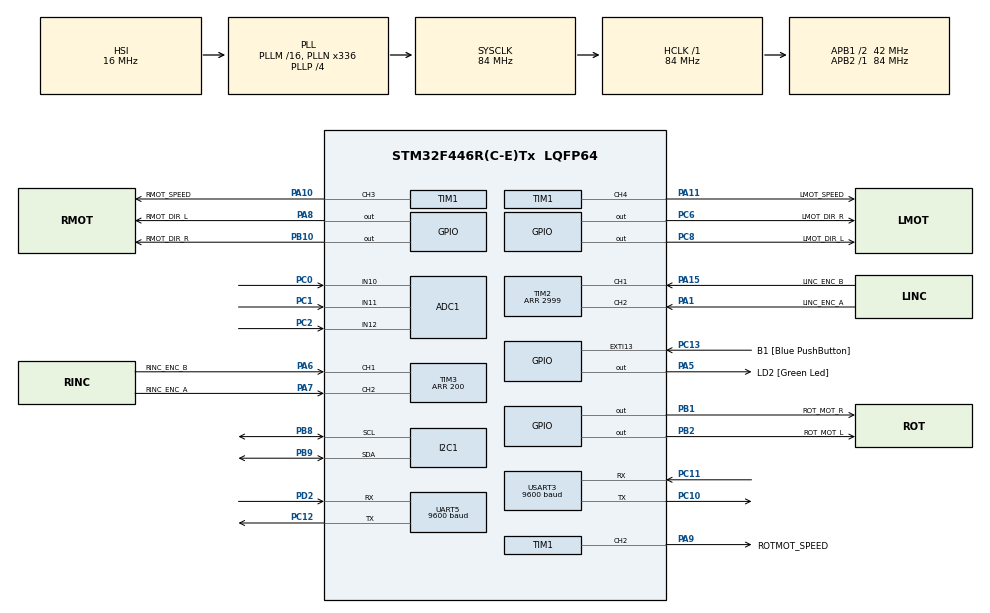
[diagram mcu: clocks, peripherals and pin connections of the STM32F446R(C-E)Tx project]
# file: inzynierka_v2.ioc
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ADC1.Channel-3\#ChannelRegularConversion=ADC_CHANNEL_10
ADC1.ClockPrescaler=ADC_CLOCK_SYNC_PCLK_DIV8
ADC1.EOCSelection=ADC_EOC_SINGLE_CONV
ADC1.NbrOfConversion=1
ADC1.NbrOfConversionFlag=1
ADC1.Rank-3\#ChannelRegularConversion=1
ADC1.SamplingTime-3\#ChannelRegularConversion=ADC_SAMPLETIME_480CYCLES
ADC1.master=1
Mcu.Family=STM32F4
Mcu.Name=STM32F446R(C-E)Tx
Mcu.Package=LQFP64
NVIC.ADC_IRQn=true\:0\:0\:false\:false\:true\:true\:true
NVIC.PriorityGroup=NVIC_PRIORITYGROUP_0
NVIC.UART5_IRQn=true\:0\:0\:false\:false\:true\:true\:true
NVIC.USART3_IRQn=true\:0\:0\:false\:false\:true\:true\:true
PA1.GPIO_Label=LINC_ENC_A
PA1.Signal=S_TIM2_CH2
PA10.GPIO_Label=RMOT_SPEED
PA10.Signal=S_TIM1_CH3
PA11.GPIO_Label=LMOT_SPEED
PA11.Signal=S_TIM1_CH4
PA13.GPIO_Label=TMS
PA13.Signal=SYS_JTMS-SWDIO
PA14.GPIO_Label=TCK
PA14.Signal=SYS_JTCK-SWCLK
PA15.GPIO_Label=LINC_ENC_B
PA15.Signal=S_TIM2_CH1_ETR
PA5.GPIO_Label=LD2 [Green Led]
PA5.Signal=GPIO_Output
PA6.GPIO_Label=RINC_ENC_B
PA6.Signal=S_TIM3_CH1
PA7.GPIO_Label=RINC_ENC_A
PA7.Signal=S_TIM3_CH2
PA8.GPIO_Label=RMOT_DIR_L
PA8.Signal=GPIO_Output
PA9.GPIO_Label=ROTMOT_SPEED
PA9.Signal=S_TIM1_CH2
PB1.GPIO_Label=ROT_MOT_R
PB1.Signal=GPIO_Output
PB10.GPIO_Label=RMOT_DIR_R
PB10.Signal=GPIO_Output
PB2.GPIO_Label=ROT_MOT_L
PB2.Signal=GPIO_Output
PB3.GPIO_Label=SWO
PB3.Signal=SYS_JTDO-SWO
PB8.Mode=I2C
PB8.Signal=I2C1_SCL
PB9.Mode=I2C
PB9.Signal=I2C1_SDA
PC0.Signal=ADCx_IN10
PC1.Signal=ADCx_IN11
PC10.Mode=Asynchronous
PC10.Signal=USART3_TX
PC11.Mode=Asynchronous
PC11.Signal=USART3_RX
PC12.Mode=Asynchronous
PC12.Signal=UART5_TX
PC13.GPIO_Label=B1 [Blue PushButton]
PC13.GPIO_ModeDefaultEXTI=GPIO_MODE_IT_FALLING
PC13.Signal=GPXTI13
PC14-OSC32_IN.Signal=RCC_OSC32_IN
PC15-OSC32_OUT.Signal=RCC_OSC32_OUT
PC2.Signal=ADCx_IN12
PC6.GPIO_Label=LMOT_DIR_R
PC6.Signal=GPIO_Output
PC8.GPIO_Label=LMOT_DIR_L
PC8.Signal=GPIO_Output
PD2.Mode=Asynchronous
PD2.Signal=UART5_RX
PH0-OSC_IN.Signal=RCC_OSC_IN
PH1-OSC_OUT.Signal=RCC_OSC_OUT
ProjectManager.HeapSize=0x200
ProjectManager.StackSize=0x400
ProjectManager.TargetToolchain=STM32CubeIDE
RCC.AHBFreq_Value=84000000
RCC.APB1CLKDivider=RCC_HCLK_DIV2
RCC.APB1Freq_Value=42000000
RCC.APB1TimFreq_Value=84000000
RCC.APB2Freq_Value=84000000
RCC.APB2TimFreq_Value=84000000
RCC.CortexFreq_Value=84000000
RCC.FLatency-AdvancedSettings=FLASH_LATENCY_2
RCC.HCLKFreq_Value=84000000
RCC.HSE_VALUE=8000000
RCC.HSI_VALUE=16000000
RCC.LSE_VALUE=32768
RCC.PLLN=336
RCC.PLLP=RCC_PLLP_DIV4
RCC.SYSCLKFreq_VALUE=84000000
RCC.SYSCLKSource=RCC_SYSCLKSOURCE_PLLCLK
RCC.USBFreq_Value=168000000
RCC.VCOOutputFreq_Value=336000000
SH.ADCx_IN10.0=ADC1_IN10,IN10
SH.ADCx_IN11.0=ADC1_IN11,IN11
SH.ADCx_IN12.0=ADC1_IN12,IN12
SH.S_TIM1_CH2.0=TIM1_CH2,PWM Generation2 CH2
SH.S_TIM1_CH3.0=TIM1_CH3,PWM Generation3 CH3
SH.S_TIM1_CH4.0=TIM1_CH4,PWM Generation4 CH4
SH.S_TIM2_CH1_ETR.0=TIM2_CH1,Encoder_Interface
SH.S_TIM2_CH2.0=TIM2_CH2,Encoder_Interface
SH.S_TIM3_CH1.0=TIM3_CH1,Encoder_Interface
SH.S_TIM3_CH2.0=TIM3_CH2,Encoder_Interface
TIM1.AutoReloadPreload=TIM_AUTORELOAD_PRELOAD_ENABLE
TIM1.Channel-PWM\ Generation2\ CH2=TIM_CHANNEL_2
TIM1.Channel-PWM\ Generation3\ CH3=TIM_CHANNEL_3
TIM1.Channel-PWM\ Generation4\ CH4=TIM_CHANNEL_4
TIM1.OCMode_PWM-PWM\ Generation4\ CH4=TIM_OCMODE_PWM1
TIM1.Period=999
TIM1.Prescaler=83
TIM2.AutoReloadPreload=TIM_AUTORELOAD_PRELOAD_DISABLE
TIM2.Period=2999
TIM3.Period=200
UART5.BaudRate=9600
UART5.VirtualMode=Asynchronous
USART3.BaudRate=9600
USART3.VirtualMode=VM_ASYNC
VP_TIM1_VS_ClockSourceINT.Mode=Internal
board=NUCLEO-F446RE

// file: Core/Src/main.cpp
/* USER CODE BEGIN Header */
/**
 ******************************************************************************
 * @file           : main.c
 * @brief          : Main program body
 ******************************************************************************
 * @attention
 *
 * <h2><center>&copy; Copyright (c) 2022 STMicroelectronics.
 * All rights reserved.</center></h2>
 *
 * This software component is licensed by ST under BSD 3-Clause license,
 * the "License"; You may not use this file except in compliance with the
 * License. You may obtain a copy of the License at:
 *                        opensource.org/licenses/BSD-3-Clause
 *
 ******************************************************************************
 */
/* USER CODE END Header */

#include "main.h"
#include "adc.h"
#include "i2c.h"
#include "tim.h"
#include "usart.h"
#include "gpio.h"

/* USER CODE BEGIN Includes */
#include "motor.hh"
#include "BTTransmiterReceiver.hh"
#include "controlBox.hh"
#include "stdio.h"
#include "string.h"
#include "cart.hh"
#include "batteries.hh"

//#define DEV_MODE
//#define BT_CONNECTION_LOST_PROTECTION

/* USER CODE END Includes */

void SystemClock_Config(void);
/* USER CODE BEGIN PFP */
BTTransmiterReceiver bt(&huart3);
controlBox cb(&huart5);

batteries bat(&hadc1, ADC_CHANNEL_11, ADC_CHANNEL_10);

void HAL_UART_RxCpltCallback(UART_HandleTypeDef *huart)
{
	if(huart == bt.getUARTHandler()){
		bt.getNewMsg();
	}
}

//void ADC_Select_CH0 (void)
//{
//	ADC_ChannelConfTypeDef sConfig = {0};
//	/** Configure for the selected ADC regular channel its corresponding rank in the sequencer and its sample time.
//	 */
//	sConfig.Channel = ADC_CHANNEL_10;
//	sConfig.Rank = 1;
//	sConfig.SamplingTime = ADC_SAMPLETIME_28CYCLES;
//	if (HAL_ADC_ConfigChannel(&hadc1, &sConfig) != HAL_OK)
//	{
//		Error_Handler();
//	}
//}
//
//void ADC_Select_CH1 (void)
//{
//	ADC_ChannelConfTypeDef sConfig = {0};
//	/** Configure for the selected ADC regular channel its corresponding rank in the sequencer and its sample time.
//	 */
//	sConfig.Channel = ADC_CHANNEL_11;
//	sConfig.Rank = 1;
//	sConfig.SamplingTime = ADC_SAMPLETIME_28CYCLES;
//	if (HAL_ADC_ConfigChannel(&hadc1, &sConfig) != HAL_OK)
//	{
//		Error_Handler();
//	}
//}

/* USER CODE END PFP */

int main(void)
{

	/* MCU Configuration--------------------------------------------------------*/

	/* Reset of all peripherals, Initializes the Flash interface and the Systick. */
	HAL_Init();

	/* Configure the system clock */
	SystemClock_Config();

	/* Initialize all configured peripherals */
	MX_GPIO_Init();
	MX_TIM2_Init();
	MX_ADC1_Init();
	MX_I2C1_Init();
	MX_TIM3_Init();
	MX_TIM1_Init();
	MX_UART5_Init();
	MX_USART3_UART_Init();
	/* USER CODE BEGIN 2 */

	DCmotor rightMotor(&htim1, TIM_CHANNEL_3,
			RMOT_DIR_L_GPIO_Port, RMOT_DIR_L_Pin,
			RMOT_DIR_R_GPIO_Port, RMOT_DIR_R_Pin,
			&htim3, TIM_CHANNEL_ALL);
	DCmotor leftMotor(&htim1, TIM_CHANNEL_4,
			LMOT_DIR_L_GPIO_Port, LMOT_DIR_L_Pin,
			LMOT_DIR_R_GPIO_Port, LMOT_DIR_R_Pin,
			&htim2, TIM_CHANNEL_ALL);
	turningDCmotor turningMotor(&htim1, TIM_CHANNEL_2,
			ROT_MOT_L_GPIO_Port, ROT_MOT_L_Pin,
			ROT_MOT_R_GPIO_Port, ROT_MOT_R_Pin,
			&hi2c1);

	turningMotor.setSpeed_rpm(900);

	//	cart mCart(&rightMotor, &leftMotor, &turningMotor);

	command cmd;

	bt.init();

	//		HAL_ADC_Start_DMA(&hadc1, (uint32_t*)batteries, 2);

	unsigned long int currentProcTime, prevProcTime, refreshDispVoltage,
	prevProcTime_dcmot, prevProcTime_turningMot, prevProcTime_Msg, incEncMesTime;
	currentProcTime = prevProcTime = prevProcTime_dcmot = incEncMesTime =
			prevProcTime_turningMot = prevProcTime_Msg = refreshDispVoltage = HAL_GetTick();

	unsigned int dcMotControlValueRefreshPeriod = 100, sendingMsgPeriod = 1000,
			IncEncMesPeriodTime = 100, refreshDispVoltagePeriod = 2000,
			turningMotControlValueRefreshPeriod = 20;

	const uint8_t quickMsgSize = 70;
	char quickMsg[quickMsgSize] = {0};

	incrementalEncoder enc(&htim2, TIM_CHANNEL_ALL, 1000.0/(double)IncEncMesPeriodTime);

	/* USER CODE END 2 */

	/* Infinite loop */
	/* USER CODE BEGIN WHILE */
	while (1)
	{
#ifndef DEV_MODE
		currentProcTime = HAL_GetTick();

		//read new message, if it's available
		if(bt.isNewMsg()){
			HAL_GPIO_TogglePin(LD2_GPIO_Port, LD2_Pin);
			bt.readNewMsg(cmd);

			prevProcTime = HAL_GetTick();
		}

#ifdef BT_CONNECTION_LOST_PROTECTION
		//connection lost, stop cart
		if(currentProcTime - prevProcTime > MAX_MSG_TIMEOUT){
			m.DCMotorSettedSpeed_rpm = 0;
			prevProcTime = HAL_GetTick();
		}
#endif

		switch(cmd.cmdName){
		case G1:
			for(int i = 0;i<sizeof(cmd.params)/sizeof(parameter);i++){
				switch(cmd.params[i].name){
				case 'L':
					//					mCart.setMovingSpeed(cmd.params[i].value);
					rightMotor.setSpeed_rpm(cmd.params[i].value);
					leftMotor.setSpeed_rpm(cmd.params[i].value);

					break;
				case 'A':
					turningMotor.setAngle_deg(cmd.params[i].value);
					break;
				}
			}
			break;
		case G4:
			for(int i = 0;i<sizeof(cmd.params)/sizeof(parameter);i++){
				switch(cmd.params[i].name){
				case 'A':
					turningMotor.setSpeed_rpm(cmd.params[i].value);
					turningMotControlValueRefreshPeriod = 8000/(unsigned int)cmd.params[i].value;
					break;
				}
			}
		case G10:
			cb.sendMsg("G10\n");
			break;
		case G11:
			cb.sendMsg("G11\n");
			break;
		case G12:
			cb.sendMsg("G12\n");
			break;
		case G13:
			cb.sendMsg("G13\n");
			break;
		case G14:
			cb.sendMsg("G14\n");
			break;
		case G15:
			cb.sendMsg("G15\n");
			break;

		case G28:
			//			mCart.setMovingSpeed(0);
			//			mCart.setTurningAngle(0);
			break;

		default:
			break;
		}

		cmd.clear();
		if(currentProcTime - prevProcTime_dcmot > dcMotControlValueRefreshPeriod){
			prevProcTime_dcmot = HAL_GetTick();

			leftMotor.refreshControlState();
			rightMotor.refreshControlState();
		}

		if(currentProcTime - prevProcTime_turningMot > turningMotControlValueRefreshPeriod){
			prevProcTime_turningMot = HAL_GetTick();

			turningMotor.refreshControlState();
		}

		if(currentProcTime - incEncMesTime > IncEncMesPeriodTime){
			incEncMesTime = HAL_GetTick();

			sprintf(quickMsg, "%0.2f\n",enc.readCurrentWheelSpeed_rpm());
			bt.sendMsg(quickMsg);
		}

		if(currentProcTime - refreshDispVoltage > refreshDispVoltagePeriod){
			refreshDispVoltage = HAL_GetTick();

			//			bat.readLogicBatteryVoltage_volts();
			//			bat.readMotorBatteryVoltage_volts();

			//			sprintf(quickMsg, "G10 L%0.2f M%0.2f\n",
			//					bat.readLogicBatteryVoltage_percent(),
			//					bat.readMotorBatteryVoltage_percent());
			sprintf(quickMsg, "G10 L%0.2f M%0.2f\n",
					48.52,
					72.33);
			cb.sendMsg(quickMsg);
		}

		if(currentProcTime - prevProcTime_Msg > sendingMsgPeriod){
			prevProcTime_Msg = HAL_GetTick();

			//			sprintf(quickMsg, "G10 L%0.2f M%0.2f\n",
			//					bat.readLogicBatteryVoltage_percent(),
			//					bat.readMotorBatteryVoltage_percent());
			//			if(!bt.sendMsg(quickMsg)){
			//				HAL_GPIO_TogglePin(LD2_GPIO_Port, LD2_Pin);
			//				HAL_Delay(500);
			//				HAL_GPIO_TogglePin(LD2_GPIO_Port, LD2_Pin);
			//			}

			//			for(int i=0; i<quickMsgSize;i++)quickMsg[i]=0;
		}

		//		leftMotor.setSpeed_rpm(m.DCMotorSettedSpeed_rpm);
		//		rightMotor.setSpeed_rpm(m.DCMotorSettedSpeed_rpm);
		//		turningMotor.setAngle_deg(m.TurningDCMotorSettedAngle_deg);

#else

		if(HAL_TIM_PWM_Start(&htim1, TIM_CHANNEL_4) != HAL_OK){
			while(1){};
		}
		if(HAL_TIM_PWM_Start(&htim1, TIM_CHANNEL_3) != HAL_OK){
			while(1){};
		}

		__HAL_TIM_SET_COMPARE(&htim1, TIM_CHANNEL_3, 400);
		__HAL_TIM_SET_COMPARE(&htim1, TIM_CHANNEL_4, 400);

#endif

		/* USER CODE END WHILE */

	}
}

void SystemClock_Config(void)
{
	RCC_OscInitTypeDef RCC_OscInitStruct = {0};
	RCC_ClkInitTypeDef RCC_ClkInitStruct = {0};

	/** Configure the main internal regulator output voltage
	 */
	__HAL_RCC_PWR_CLK_ENABLE();
	__HAL_PWR_VOLTAGESCALING_CONFIG(PWR_REGULATOR_VOLTAGE_SCALE3);
	/** Initializes the RCC Oscillators according to the specified parameters
	 * in the RCC_OscInitTypeDef structure.
	 */
	RCC_OscInitStruct.OscillatorType = RCC_OSCILLATORTYPE_HSI;
	RCC_OscInitStruct.HSIState = RCC_HSI_ON;
	RCC_OscInitStruct.HSICalibrationValue = RCC_HSICALIBRATION_DEFAULT;
	RCC_OscInitStruct.PLL.PLLState = RCC_PLL_ON;
	RCC_OscInitStruct.PLL.PLLSource = RCC_PLLSOURCE_HSI;
	RCC_OscInitStruct.PLL.PLLM = 16;
	RCC_OscInitStruct.PLL.PLLN = 336;
	RCC_OscInitStruct.PLL.PLLP = RCC_PLLP_DIV4;
	RCC_OscInitStruct.PLL.PLLQ = 2;
	RCC_OscInitStruct.PLL.PLLR = 2;
	if (HAL_RCC_OscConfig(&RCC_OscInitStruct) != HAL_OK)
	{
		Error_Handler();
	}
	/** Initializes the CPU, AHB and APB buses clocks
	 */
	RCC_ClkInitStruct.ClockType = RCC_CLOCKTYPE_HCLK|RCC_CLOCKTYPE_SYSCLK
			|RCC_CLOCKTYPE_PCLK1|RCC_CLOCKTYPE_PCLK2;
	RCC_ClkInitStruct.SYSCLKSource = RCC_SYSCLKSOURCE_PLLCLK;
	RCC_ClkInitStruct.AHBCLKDivider = RCC_SYSCLK_DIV1;
	RCC_ClkInitStruct.APB1CLKDivider = RCC_HCLK_DIV2;
	RCC_ClkInitStruct.APB2CLKDivider = RCC_HCLK_DIV1;

	if (HAL_RCC_ClockConfig(&RCC_ClkInitStruct, FLASH_LATENCY_2) != HAL_OK)
	{
		Error_Handler();
	}
}

void Error_Handler(void)
{
	/* USER CODE BEGIN Error_Handler_Debug */
	while(1){
		HAL_GPIO_TogglePin(LD2_GPIO_Port, LD2_Pin);
		HAL_Delay(200);
		HAL_GPIO_TogglePin(LD2_GPIO_Port, LD2_Pin);
		HAL_Delay(200);
	}
	/* User can add his own implementation to report the HAL error return state */

	/* USER CODE END Error_Handler_Debug */
}

/************************ (C) COPYRIGHT STMicroelectronics *****END OF FILE****/
